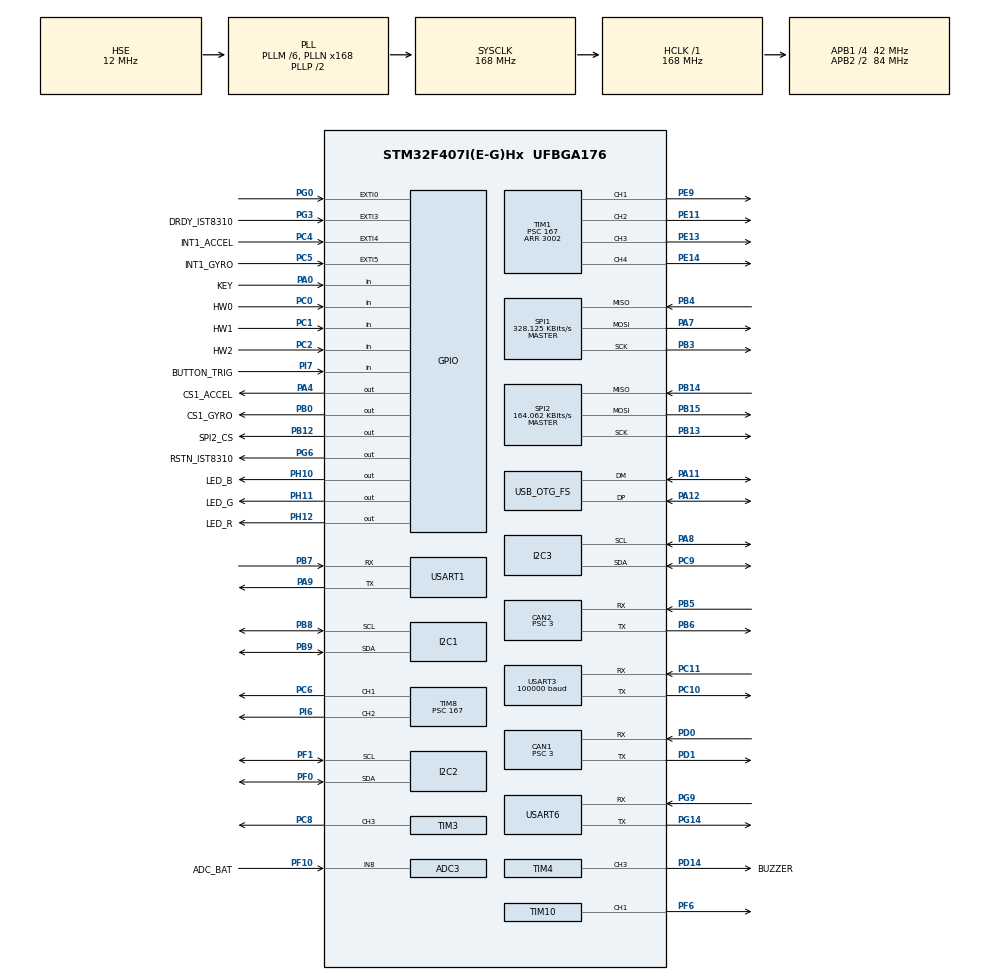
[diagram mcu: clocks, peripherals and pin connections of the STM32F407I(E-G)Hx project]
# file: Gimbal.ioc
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ADC1.Channel-0\#ChannelRegularConversion=ADC_CHANNEL_TEMPSENSOR
ADC1.ClockPrescaler=ADC_CLOCK_SYNC_PCLK_DIV6
ADC1.NbrOfConversionFlag=1
ADC1.Rank-0\#ChannelRegularConversion=1
ADC1.SamplingTime-0\#ChannelRegularConversion=ADC_SAMPLETIME_3CYCLES
ADC1.master=1
ADC3.Channel-0\#ChannelRegularConversion=ADC_CHANNEL_8
ADC3.ClockPrescaler=ADC_CLOCK_SYNC_PCLK_DIV6
ADC3.NbrOfConversionFlag=1
ADC3.Rank-0\#ChannelRegularConversion=1
ADC3.SamplingTime-0\#ChannelRegularConversion=ADC_SAMPLETIME_3CYCLES
CAN1.BS1=CAN_BS1_10TQ
CAN1.BS2=CAN_BS2_3TQ
CAN1.CalculateBaudRate=1000000
CAN1.CalculateTimeQuantum=71.42857142857143
CAN1.Prescaler=3
CAN2.BS1=CAN_BS1_10TQ
CAN2.BS2=CAN_BS2_3TQ
CAN2.CalculateBaudRate=1000000
CAN2.CalculateTimeQuantum=71.42857142857143
CAN2.Prescaler=3
Dma.I2C2_TX.2.Direction=DMA_MEMORY_TO_PERIPH
Dma.I2C2_TX.2.FIFOMode=DMA_FIFOMODE_DISABLE
Dma.I2C2_TX.2.Instance=DMA1_Stream7
Dma.I2C2_TX.2.MemDataAlignment=DMA_MDATAALIGN_BYTE
Dma.I2C2_TX.2.MemInc=DMA_MINC_ENABLE
Dma.I2C2_TX.2.Mode=DMA_NORMAL
Dma.I2C2_TX.2.PeriphDataAlignment=DMA_PDATAALIGN_BYTE
Dma.I2C2_TX.2.PeriphInc=DMA_PINC_DISABLE
Dma.I2C2_TX.2.Priority=DMA_PRIORITY_HIGH
Dma.Request0=SPI1_RX
Dma.Request1=SPI1_TX
Dma.Request2=I2C2_TX
Dma.Request3=USART3_RX
Dma.Request4=USART6_RX
Dma.Request5=USART6_TX
Dma.Request6=USART1_TX
Dma.Request7=USART1_RX
Dma.SPI1_RX.0.Direction=DMA_PERIPH_TO_MEMORY
Dma.SPI1_RX.0.FIFOMode=DMA_FIFOMODE_DISABLE
Dma.SPI1_RX.0.Instance=DMA2_Stream2
Dma.SPI1_RX.0.MemDataAlignment=DMA_MDATAALIGN_BYTE
Dma.SPI1_RX.0.MemInc=DMA_MINC_ENABLE
Dma.SPI1_RX.0.Mode=DMA_NORMAL
Dma.SPI1_RX.0.PeriphDataAlignment=DMA_PDATAALIGN_BYTE
Dma.SPI1_RX.0.PeriphInc=DMA_PINC_DISABLE
Dma.SPI1_RX.0.Priority=DMA_PRIORITY_VERY_HIGH
Dma.SPI1_TX.1.Direction=DMA_MEMORY_TO_PERIPH
Dma.SPI1_TX.1.FIFOMode=DMA_FIFOMODE_DISABLE
Dma.SPI1_TX.1.Instance=DMA2_Stream3
Dma.SPI1_TX.1.MemDataAlignment=DMA_MDATAALIGN_BYTE
Dma.SPI1_TX.1.MemInc=DMA_MINC_ENABLE
Dma.SPI1_TX.1.Mode=DMA_NORMAL
Dma.SPI1_TX.1.PeriphDataAlignment=DMA_PDATAALIGN_BYTE
Dma.SPI1_TX.1.PeriphInc=DMA_PINC_DISABLE
Dma.SPI1_TX.1.Priority=DMA_PRIORITY_HIGH
Dma.USART1_RX.7.Direction=DMA_PERIPH_TO_MEMORY
Dma.USART1_RX.7.FIFOMode=DMA_FIFOMODE_DISABLE
Dma.USART1_RX.7.Instance=DMA2_Stream5
Dma.USART1_RX.7.MemDataAlignment=DMA_MDATAALIGN_BYTE
Dma.USART1_RX.7.MemInc=DMA_MINC_ENABLE
Dma.USART1_RX.7.Mode=DMA_NORMAL
Dma.USART1_RX.7.PeriphDataAlignment=DMA_PDATAALIGN_BYTE
Dma.USART1_RX.7.PeriphInc=DMA_PINC_DISABLE
Dma.USART1_RX.7.Priority=DMA_PRIORITY_LOW
Dma.USART1_TX.6.Direction=DMA_MEMORY_TO_PERIPH
Dma.USART1_TX.6.FIFOMode=DMA_FIFOMODE_DISABLE
Dma.USART1_TX.6.Instance=DMA2_Stream7
Dma.USART1_TX.6.MemDataAlignment=DMA_MDATAALIGN_BYTE
Dma.USART1_TX.6.MemInc=DMA_MINC_ENABLE
Dma.USART1_TX.6.Mode=DMA_NORMAL
Dma.USART1_TX.6.PeriphDataAlignment=DMA_PDATAALIGN_BYTE
Dma.USART1_TX.6.PeriphInc=DMA_PINC_DISABLE
Dma.USART1_TX.6.Priority=DMA_PRIORITY_MEDIUM
Dma.USART3_RX.3.Direction=DMA_PERIPH_TO_MEMORY
Dma.USART3_RX.3.FIFOMode=DMA_FIFOMODE_DISABLE
Dma.USART3_RX.3.Instance=DMA1_Stream1
Dma.USART3_RX.3.MemDataAlignment=DMA_MDATAALIGN_BYTE
Dma.USART3_RX.3.MemInc=DMA_MINC_ENABLE
Dma.USART3_RX.3.Mode=DMA_NORMAL
Dma.USART3_RX.3.PeriphDataAlignment=DMA_PDATAALIGN_BYTE
Dma.USART3_RX.3.PeriphInc=DMA_PINC_DISABLE
Dma.USART3_RX.3.Priority=DMA_PRIORITY_HIGH
Dma.USART6_RX.4.Direction=DMA_PERIPH_TO_MEMORY
Dma.USART6_RX.4.FIFOMode=DMA_FIFOMODE_DISABLE
Dma.USART6_RX.4.Instance=DMA2_Stream1
Dma.USART6_RX.4.MemDataAlignment=DMA_MDATAALIGN_BYTE
Dma.USART6_RX.4.MemInc=DMA_MINC_ENABLE
Dma.USART6_RX.4.Mode=DMA_NORMAL
Dma.USART6_RX.4.PeriphDataAlignment=DMA_PDATAALIGN_BYTE
Dma.USART6_RX.4.PeriphInc=DMA_PINC_DISABLE
Dma.USART6_RX.4.Priority=DMA_PRIORITY_HIGH
Dma.USART6_TX.5.Direction=DMA_MEMORY_TO_PERIPH
Dma.USART6_TX.5.FIFOMode=DMA_FIFOMODE_DISABLE
Dma.USART6_TX.5.Instance=DMA2_Stream6
Dma.USART6_TX.5.MemDataAlignment=DMA_MDATAALIGN_BYTE
Dma.USART6_TX.5.MemInc=DMA_MINC_ENABLE
Dma.USART6_TX.5.Mode=DMA_NORMAL
Dma.USART6_TX.5.PeriphDataAlignment=DMA_PDATAALIGN_BYTE
Dma.USART6_TX.5.PeriphInc=DMA_PINC_DISABLE
Dma.USART6_TX.5.Priority=DMA_PRIORITY_MEDIUM
FREERTOS.INCLUDE_eTaskGetState=1
FREERTOS.INCLUDE_pcTaskGetTaskName=1
FREERTOS.INCLUDE_uxTaskGetStackHighWaterMark=1
FREERTOS.INCLUDE_vTaskCleanUpResources=1
FREERTOS.INCLUDE_vTaskDelayUntil=1
FREERTOS.INCLUDE_xEventGroupSetBitFromISR=1
FREERTOS.INCLUDE_xQueueGetMutexHolder=1
FREERTOS.INCLUDE_xSemaphoreGetMutexHolder=1
FREERTOS.INCLUDE_xTaskAbortDelay=1
FREERTOS.INCLUDE_xTaskGetCurrentTaskHandle=1
FREERTOS.INCLUDE_xTaskGetHandle=1
FREERTOS.INCLUDE_xTimerPendFunctionCall=1
FREERTOS.Tasks01=test,24,128,test_task,As weak,NULL,Dynamic,NULL,NULL
FREERTOS.configTOTAL_HEAP_SIZE=24576
I2C1.I2C_Mode=I2C_Fast
I2C2.I2C_Mode=I2C_Fast
I2C3.I2C_Mode=I2C_Fast
Mcu.Family=STM32F4
Mcu.Name=STM32F407I(E-G)Hx
Mcu.Package=UFBGA176
NVIC.CAN1_RX0_IRQn=true\:5\:0\:true\:false\:true\:true\:true\:true\:true
NVIC.CAN1_RX1_IRQn=true\:5\:0\:false\:false\:true\:true\:true\:true\:true
NVIC.CAN1_TX_IRQn=true\:5\:0\:false\:false\:true\:true\:true\:true\:true
NVIC.CAN2_RX0_IRQn=true\:6\:0\:true\:false\:true\:true\:true\:true\:true
NVIC.CAN2_RX1_IRQn=true\:5\:0\:false\:false\:true\:true\:true\:true\:true
NVIC.CAN2_TX_IRQn=true\:5\:0\:false\:false\:true\:true\:true\:true\:true
NVIC.DMA1_Stream1_IRQn=true\:5\:0\:true\:false\:false\:true\:false\:false\:true
NVIC.DMA1_Stream7_IRQn=true\:5\:0\:true\:false\:false\:true\:false\:true\:true
NVIC.DMA2_Stream1_IRQn=true\:5\:0\:true\:false\:true\:true\:false\:true\:true
NVIC.DMA2_Stream2_IRQn=true\:5\:0\:true\:false\:false\:true\:false\:true\:true
NVIC.DMA2_Stream3_IRQn=true\:5\:0\:true\:false\:false\:true\:false\:true\:true
NVIC.DMA2_Stream5_IRQn=true\:5\:0\:false\:false\:true\:true\:false\:true\:true
NVIC.DMA2_Stream6_IRQn=true\:5\:0\:true\:false\:true\:true\:false\:true\:true
NVIC.DMA2_Stream7_IRQn=true\:5\:0\:true\:false\:true\:true\:false\:true\:true
NVIC.EXTI0_IRQn=true\:6\:0\:true\:false\:true\:true\:true\:true\:true
NVIC.EXTI3_IRQn=true\:5\:0\:true\:false\:true\:true\:true\:true\:true
NVIC.EXTI4_IRQn=true\:5\:0\:true\:false\:true\:true\:true\:true\:true
NVIC.EXTI9_5_IRQn=true\:5\:0\:true\:false\:true\:true\:true\:true\:true
NVIC.OTG_FS_IRQn=true\:5\:0\:false\:false\:true\:true\:false\:true\:true
NVIC.PriorityGroup=NVIC_PRIORITYGROUP_4
NVIC.TIM8_TRG_COM_TIM14_IRQn=true\:15\:0\:false\:false\:true\:false\:false\:true\:true
NVIC.TimeBase=TIM8_TRG_COM_TIM14_IRQn
NVIC.TimeBaseIP=TIM14
NVIC.USART1_IRQn=true\:5\:0\:false\:false\:true\:true\:true\:true\:true
NVIC.USART3_IRQn=true\:4\:0\:true\:false\:false\:false\:true\:true\:true
NVIC.USART6_IRQn=true\:5\:0\:true\:false\:false\:true\:true\:true\:true
PA0-WKUP.GPIO_Label=KEY
PA0-WKUP.GPIO_PuPd=GPIO_PULLUP
PA0-WKUP.Signal=GPIO_Input
PA10.Signal=USB_OTG_FS_ID
PA11.Mode=Device_Only
PA11.Signal=USB_OTG_FS_DM
PA12.Mode=Device_Only
PA12.Signal=USB_OTG_FS_DP
PA13.Mode=Serial_Wire
PA13.Signal=SYS_JTMS-SWDIO
PA14.Mode=Serial_Wire
PA14.Signal=SYS_JTCK-SWCLK
PA4.GPIO_Label=CS1_ACCEL
PA4.GPIO_PuPd=GPIO_PULLUP
PA4.GPIO_Speed=GPIO_SPEED_FREQ_HIGH
PA4.PinState=GPIO_PIN_SET
PA4.Signal=GPIO_Output
PA7.GPIO_PuPd=GPIO_PULLUP
PA7.Mode=Full_Duplex_Master
PA7.Signal=SPI1_MOSI
PA8.GPIO_Pu=GPIO_PULLUP
PA8.Mode=I2C
PA8.Signal=I2C3_SCL
PA9.Mode=Asynchronous
PA9.Signal=USART1_TX
PB0.GPIO_Label=CS1_GYRO
PB0.GPIO_PuPd=GPIO_PULLUP
PB0.GPIO_Speed=GPIO_SPEED_FREQ_HIGH
PB0.PinState=GPIO_PIN_SET
PB0.Signal=GPIO_Output
PB12.GPIO_Label=SPI2_CS
PB12.GPIO_PuPd=GPIO_PULLUP
PB12.GPIO_Speed=GPIO_SPEED_FREQ_MEDIUM
PB12.PinState=GPIO_PIN_SET
PB12.Signal=GPIO_Output
PB13.GPIO_PuPd=GPIO_PULLUP
PB13.Mode=Full_Duplex_Master
PB13.Signal=SPI2_SCK
PB14.GPIO_PuPd=GPIO_PULLUP
PB14.Mode=Full_Duplex_Master
PB14.Signal=SPI2_MISO
PB15.GPIO_PuPd=GPIO_PULLUP
PB15.Mode=Full_Duplex_Master
PB15.Signal=SPI2_MOSI
PB3.GPIO_PuPd=GPIO_PULLUP
PB3.Mode=Full_Duplex_Master
PB3.Signal=SPI1_SCK
PB4.GPIO_PuPd=GPIO_PULLUP
PB4.Mode=Full_Duplex_Master
PB4.Signal=SPI1_MISO
PB5.Mode=CAN_Activate
PB5.Signal=CAN2_RX
PB6.Mode=CAN_Activate
PB6.Signal=CAN2_TX
PB7.Mode=Asynchronous
PB7.Signal=USART1_RX
PB8.GPIO_Pu=GPIO_PULLUP
PB8.Mode=I2C
PB8.Signal=I2C1_SCL
PB9.GPIO_Pu=GPIO_PULLUP
PB9.Mode=I2C
PB9.Signal=I2C1_SDA
PC0.GPIO_Label=HW0
PC0.Signal=GPIO_Input
PC1.GPIO_Label=HW1
PC1.Signal=GPIO_Input
PC10.Mode=Asynchronous
PC10.Signal=USART3_TX
PC11.Mode=Asynchronous
PC11.Signal=USART3_RX
PC2.GPIO_Label=HW2
PC2.Signal=GPIO_Input
PC4.GPIO_Label=INT1_ACCEL
PC4.GPIO_ModeDefaultEXTI=GPIO_MODE_IT_FALLING
PC4.GPIO_PuPd=GPIO_PULLUP
PC4.Signal=GPXTI4
PC5.GPIO_Label=INT1_GYRO
PC5.GPIO_ModeDefaultEXTI=GPIO_MODE_IT_FALLING
PC5.GPIO_PuPd=GPIO_PULLUP
PC5.Signal=GPXTI5
PC6.GPIO_PuPd=GPIO_PULLUP
PC6.GPIO_Speed=GPIO_SPEED_FREQ_HIGH
PC6.Signal=S_TIM8_CH1
PC8.GPIO_PuPd=GPIO_PULLUP
PC8.GPIO_Speed=GPIO_SPEED_FREQ_HIGH
PC8.Signal=S_TIM3_CH3
PC9.GPIO_Pu=GPIO_PULLUP
PC9.Mode=I2C
PC9.Signal=I2C3_SDA
PD0.Mode=CAN_Activate
PD0.Signal=CAN1_RX
PD1.Mode=CAN_Activate
PD1.Signal=CAN1_TX
PD14.GPIO_Label=BUZZER
PD14.GPIO_PuPd=GPIO_PULLUP
PD14.GPIO_Speed=GPIO_SPEED_FREQ_VERY_HIGH
PD14.Signal=S_TIM4_CH3
PE11.GPIO_PuPd=GPIO_PULLUP
PE11.GPIO_Speed=GPIO_SPEED_FREQ_HIGH
PE11.Signal=S_TIM1_CH2
PE13.GPIO_PuPd=GPIO_PULLUP
PE13.GPIO_Speed=GPIO_SPEED_FREQ_HIGH
PE13.Signal=S_TIM1_CH3
PE14.GPIO_PuPd=GPIO_PULLUP
PE14.GPIO_Speed=GPIO_SPEED_FREQ_HIGH
PE14.Signal=S_TIM1_CH4
PE9.GPIO_PuPd=GPIO_PULLUP
PE9.GPIO_Speed=GPIO_SPEED_FREQ_HIGH
PE9.Signal=S_TIM1_CH1
PF0.GPIO_Pu=GPIO_PULLUP
PF0.Mode=I2C
PF0.Signal=I2C2_SDA
PF1.GPIO_Pu=GPIO_PULLUP
PF1.Mode=I2C
PF1.Signal=I2C2_SCL
PF10.GPIO_Label=ADC_BAT
PF10.Mode=IN8
PF10.Signal=ADC3_IN8
PF6.GPIO_PuPd=GPIO_PULLUP
PF6.GPIO_Speed=GPIO_SPEED_FREQ_HIGH
PF6.Signal=S_TIM10_CH1
PG0.GPIO_ModeDefaultEXTI=GPIO_MODE_IT_FALLING
PG0.GPIO_PuPd=GPIO_PULLUP
PG0.Signal=GPXTI0
PG14.Mode=Asynchronous
PG14.Signal=USART6_TX
PG3.GPIO_Label=DRDY_IST8310
PG3.GPIO_ModeDefaultEXTI=GPIO_MODE_IT_FALLING
PG3.GPIO_PuPd=GPIO_PULLUP
PG3.Signal=GPXTI3
PG6.GPIO_Label=RSTN_IST8310
PG6.GPIO_PuPd=GPIO_PULLUP
PG6.GPIO_Speed=GPIO_SPEED_FREQ_MEDIUM
PG6.PinState=GPIO_PIN_SET
PG6.Signal=GPIO_Output
PG9.Mode=Asynchronous
PG9.Signal=USART6_RX
PH0-OSC_IN.Mode=HSE-External-Oscillator
PH0-OSC_IN.Signal=RCC_OSC_IN
PH1-OSC_OUT.Mode=HSE-External-Oscillator
PH1-OSC_OUT.Signal=RCC_OSC_OUT
PH10.GPIO_Label=LED_B
PH10.GPIO_PuPd=GPIO_PULLDOWN
PH10.Signal=GPIO_Output
PH11.GPIO_Label=LED_G
PH11.GPIO_PuPd=GPIO_PULLDOWN
PH11.Signal=GPIO_Output
PH12.GPIO_Label=LED_R
PH12.GPIO_PuPd=GPIO_PULLDOWN
PH12.Signal=GPIO_Output
PI6.GPIO_PuPd=GPIO_PULLUP
PI6.GPIO_Speed=GPIO_SPEED_FREQ_HIGH
PI6.Signal=S_TIM8_CH2
PI7.GPIO_Label=BUTTON_TRIG
PI7.GPIO_PuPd=GPIO_PULLUP
PI7.Signal=GPIO_Input
ProjectManager.HeapSize=0x2000
ProjectManager.StackSize=0x2000
ProjectManager.TargetToolchain=MDK-ARM V5
RCC.48MHZClocksFreq_Value=48000000
RCC.AHBFreq_Value=168000000
RCC.APB1CLKDivider=RCC_HCLK_DIV4
RCC.APB1Freq_Value=42000000
RCC.APB1TimFreq_Value=84000000
RCC.APB2CLKDivider=RCC_HCLK_DIV2
RCC.APB2Freq_Value=84000000
RCC.APB2TimFreq_Value=168000000
RCC.CortexFreq_Value=168000000
RCC.HCLKFreq_Value=168000000
RCC.HSE_VALUE=12000000
RCC.HSI_VALUE=16000000
RCC.LSE_VALUE=32768
RCC.PLLM=6
RCC.PLLN=168
RCC.PLLQ=7
RCC.RCC_RTC_Clock_SourceVirtual=RCC_RTCCLKSOURCE_HSE_DIV30
RCC.RCC_RTC_Clock_Source_FROM_HSE=RCC_RTCCLKSOURCE_HSE_DIV30
RCC.SYSCLKFreq_VALUE=168000000
RCC.SYSCLKSource=RCC_SYSCLKSOURCE_PLLCLK
RCC.VCOOutputFreq_Value=336000000
RTC.AsynchPrediv=124
RTC.SynchPrediv=3199
SH.S_TIM10_CH1.0=TIM10_CH1,PWM Generation1 CH1
SH.S_TIM1_CH1.0=TIM1_CH1,PWM Generation1 CH1
SH.S_TIM1_CH2.0=TIM1_CH2,PWM Generation2 CH2
SH.S_TIM1_CH3.0=TIM1_CH3,PWM Generation3 CH3
SH.S_TIM1_CH4.0=TIM1_CH4,PWM Generation4 CH4
SH.S_TIM3_CH3.0=TIM3_CH3,PWM Generation3 CH3
SH.S_TIM4_CH3.0=TIM4_CH3,PWM Generation3 CH3
SH.S_TIM8_CH1.0=TIM8_CH1,PWM Generation1 CH1
SH.S_TIM8_CH2.0=TIM8_CH2,PWM Generation2 CH2
SPI1.BaudRatePrescaler=SPI_BAUDRATEPRESCALER_256
SPI1.CLKPhase=SPI_PHASE_2EDGE
SPI1.CLKPolarity=SPI_POLARITY_HIGH
SPI1.CalculateBaudRate=328.125 KBits/s
SPI1.Direction=SPI_DIRECTION_2LINES
SPI1.Mode=SPI_MODE_MASTER
SPI1.VirtualType=VM_MASTER
SPI2.BaudRatePrescaler=SPI_BAUDRATEPRESCALER_256
SPI2.CLKPhase=SPI_PHASE_2EDGE
SPI2.CLKPolarity=SPI_POLARITY_HIGH
SPI2.CalculateBaudRate=164.062 KBits/s
SPI2.Direction=SPI_DIRECTION_2LINES
SPI2.Mode=SPI_MODE_MASTER
SPI2.VirtualType=VM_MASTER
TIM1.Channel-PWM\ Generation1\ CH1=TIM_CHANNEL_1
TIM1.Channel-PWM\ Generation2\ CH2=TIM_CHANNEL_2
TIM1.Channel-PWM\ Generation3\ CH3=TIM_CHANNEL_3
TIM1.Channel-PWM\ Generation4\ CH4=TIM_CHANNEL_4
TIM1.Period=3002
TIM1.Prescaler=167
TIM1.Pulse-PWM\ Generation1\ CH1=1000
TIM1.Pulse-PWM\ Generation2\ CH2=1000
TIM1.Pulse-PWM\ Generation3\ CH3=1000
TIM1.Pulse-PWM\ Generation4\ CH4=1000
TIM10.Channel=TIM_CHANNEL_1
TIM10.Period=4999
TIM3.Channel-PWM\ Generation3\ CH3=TIM_CHANNEL_3
TIM3.Period=8399
TIM4.Channel-PWM\ Generation3\ CH3=TIM_CHANNEL_3
TIM4.Period=65535
TIM4.Prescaler=167
TIM5.Period=65535
TIM5.Prescaler=0
TIM8.Channel-PWM\ Generation1\ CH1=TIM_CHANNEL_1
TIM8.Channel-PWM\ Generation2\ CH2=TIM_CHANNEL_2
TIM8.Period=19999
TIM8.Prescaler=167
TIM8.Pulse-PWM\ Generation1\ CH1=1000
TIM8.Pulse-PWM\ Generation2\ CH2=1000
USART1.VirtualMode=VM_ASYNC
USART3.BaudRate=100000
USART3.Parity=PARITY_EVEN
USART3.VirtualMode=VM_ASYNC
USART6.VirtualMode=VM_ASYNC
USB_DEVICE.CLASS_NAME_FS=CDC
USB_DEVICE.VirtualMode-CDC_FS=Cdc
USB_DEVICE.VirtualModeFS=Cdc_FS
USB_OTG_FS.VirtualMode=Device_Only
VP_ADC1_TempSens_Input.Mode=IN-TempSens
VP_ADC1_Vref_Input.Mode=IN-Vrefint
VP_CRC_VS_CRC.Mode=CRC_Activate
VP_FREERTOS_VS_CMSIS_V1.Mode=CMSIS_V1
VP_RNG_VS_RNG.Mode=RNG_Activate
VP_RTC_VS_RTC_Activate.Mode=RTC_Enabled
VP_SYS_VS_tim14.Mode=TIM14
VP_TIM10_VS_ClockSourceINT.Mode=Enable_Timer
VP_TIM1_VS_ClockSourceINT.Mode=Internal
VP_TIM3_VS_ClockSourceINT.Mode=Internal
VP_TIM5_VS_ClockSourceINT.Mode=Internal
VP_TIM8_VS_ClockSourceINT.Mode=Internal
VP_USB_DEVICE_VS_USB_DEVICE_CDC_FS.Mode=CDC_FS
board=custom

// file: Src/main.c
/* USER CODE BEGIN Header */
/**
  ******************************************************************************
  * @file           : main.c
  * @brief          : Main program body
  ******************************************************************************
  * @attention
  *
  * Copyright (c) 2025 STMicroelectronics.
  * All rights reserved.
  *
  * This software is licensed under terms that can be found in the LICENSE file
  * in the root directory of this software component.
  * If no LICENSE file comes with this software, it is provided AS-IS.
  *
  ******************************************************************************
  */
/* USER CODE END Header */
#include "main.h"
#include "cmsis_os.h"
#include "adc.h"
#include "can.h"
#include "crc.h"
#include "dma.h"
#include "i2c.h"
#include "rng.h"
#include "rtc.h"
#include "spi.h"
#include "tim.h"
#include "usart.h"
#include "usb_device.h"
#include "gpio.h"

/* USER CODE BEGIN Includes */
#include "remote_control.h"
#include "struct_typedef.h"
#include "pid.h"
#include "bsp_can.h"
/* USER CODE END Includes */

/* USER CODE BEGIN PV */
char rxmessage[BUFFERSIZE] = {0};
uint8_t remoteMessage[36] = {0};
/* USER CODE END PV */

void SystemClock_Config(void);
void MX_FREERTOS_Init(void);
/* USER CODE BEGIN PFP */
//void HAL_UARTEx_RxEventCallback(UART_HandleTypeDef *huart, uint16_t Size)
//{
////    HAL_GPIO_WritePin(LED_B_GPIO_Port, LED_B_Pin, GPIO_PIN_SET);
//    if (huart == &huart6)
//    {
//					HAL_GPIO_WritePin(LED_R_GPIO_Port, LED_R_Pin, GPIO_PIN_SET);
////        float Kp, Ki, Kd;
////        sscanf(rxmessage, "%f,%f,%f", &Kp, &Ki, &Kd);
////        for (int i = 0; i < 4; i++)
////        {
////            Motor_SPID[i].PID_reset(&Motor_SPID, Kp, Ki, Kd);
////        }

////        memset(rxmessage, 0, BUFFERSIZE);
//        HAL_UARTEx_ReceiveToIdle_DMA(&huart6, (char *)rxmessage, BUFFERSIZE);
//    }
//    else if (huart->Instance == USART3)
//    {
//				HAL_GPIO_WritePin(LED_G_GPIO_Port, LED_G_Pin, GPIO_PIN_SET);
//        remoteReceive(remoteMessage);
//        HAL_UARTEx_ReceiveToIdle_DMA(&huart3, (uint8_t *)remoteMessage, 36);
//    }
//}
//void USART3_IRQHandler(void)
//{
//	HAL_GPIO_TogglePin(LED_B_GPIO_Port, LED_B_Pin);
//}
/* USER CODE END PFP */

/* USER CODE BEGIN 0 */
PID_TypeDef Motor_VPID[4] = {0};
PID_TypeDef Motor_SPID = {0};
PID_TypeDef Gimbal_VPID = {0};
PID_TypeDef Gimbal_SPID = {0};
/* USER CODE END 0 */

int main(void)
{

  /* MCU Configuration--------------------------------------------------------*/

  /* Reset of all peripherals, Initializes the Flash interface and the Systick. */
  HAL_Init();

  /* Configure the system clock */
  SystemClock_Config();

  /* Initialize all configured peripherals */
  MX_GPIO_Init();
  MX_DMA_Init();
  MX_ADC1_Init();
  MX_ADC3_Init();
  MX_CAN1_Init();
  MX_CAN2_Init();
  MX_I2C1_Init();
  MX_SPI1_Init();
  MX_TIM4_Init();
  MX_TIM5_Init();
  MX_USART3_UART_Init();
  MX_TIM8_Init();
  MX_CRC_Init();
  MX_RNG_Init();
  MX_I2C2_Init();
  MX_I2C3_Init();
  MX_RTC_Init();
  MX_SPI2_Init();
  MX_TIM1_Init();
  MX_TIM3_Init();
  MX_TIM10_Init();
  MX_USART1_UART_Init();
  MX_USART6_UART_Init();
  /* USER CODE BEGIN 2 */
//  HAL_UARTEx_ReceiveToIdle_DMA(&huart3, (uint8_t *)remoteMessage, 36);
//	can_filter_init();
//  HAL_TIM_Base_Start_IT(&htim4);
  HAL_Delay(10);
  /* USER CODE END 2 */

  /* Call init function for freertos objects (in cmsis_os2.c) */
  MX_FREERTOS_Init();

  /* Start scheduler */
  osKernelStart();

  /* We should never get here as control is now taken by the scheduler */

  /* Infinite loop */
  while (1)
  {
//		HAL_GPIO_TogglePin(LED_R_GPIO_Port, LED_R_Pin);

    /* USER CODE BEGIN 3 */
  }
	  HAL_UARTEx_ReceiveToIdle_DMA(&huart3, (uint8_t *)remoteMessage, 36);
  /* USER CODE END 3 */
}

void SystemClock_Config(void)
{
  RCC_OscInitTypeDef RCC_OscInitStruct = {0};
  RCC_ClkInitTypeDef RCC_ClkInitStruct = {0};

  /** Configure the main internal regulator output voltage
  */
  __HAL_RCC_PWR_CLK_ENABLE();
  __HAL_PWR_VOLTAGESCALING_CONFIG(PWR_REGULATOR_VOLTAGE_SCALE1);

  /** Initializes the RCC Oscillators according to the specified parameters
  * in the RCC_OscInitTypeDef structure.
  */
  RCC_OscInitStruct.OscillatorType = RCC_OSCILLATORTYPE_HSE;
  RCC_OscInitStruct.HSEState = RCC_HSE_ON;
  RCC_OscInitStruct.PLL.PLLState = RCC_PLL_ON;
  RCC_OscInitStruct.PLL.PLLSource = RCC_PLLSOURCE_HSE;
  RCC_OscInitStruct.PLL.PLLM = 6;
  RCC_OscInitStruct.PLL.PLLN = 168;
  RCC_OscInitStruct.PLL.PLLP = RCC_PLLP_DIV2;
  RCC_OscInitStruct.PLL.PLLQ = 7;
  if (HAL_RCC_OscConfig(&RCC_OscInitStruct) != HAL_OK)
  {
    Error_Handler();
  }

  /** Initializes the CPU, AHB and APB buses clocks
  */
  RCC_ClkInitStruct.ClockType = RCC_CLOCKTYPE_HCLK|RCC_CLOCKTYPE_SYSCLK
                              |RCC_CLOCKTYPE_PCLK1|RCC_CLOCKTYPE_PCLK2;
  RCC_ClkInitStruct.SYSCLKSource = RCC_SYSCLKSOURCE_PLLCLK;
  RCC_ClkInitStruct.AHBCLKDivider = RCC_SYSCLK_DIV1;
  RCC_ClkInitStruct.APB1CLKDivider = RCC_HCLK_DIV4;
  RCC_ClkInitStruct.APB2CLKDivider = RCC_HCLK_DIV2;

  if (HAL_RCC_ClockConfig(&RCC_ClkInitStruct, FLASH_LATENCY_5) != HAL_OK)
  {
    Error_Handler();
  }
}

void HAL_TIM_PeriodElapsedCallback(TIM_HandleTypeDef *htim)
{
  if (htim->Instance == TIM14) {
    HAL_IncTick();
  }
}

void Error_Handler(void)
{
  __disable_irq();
  while (1)
  {
  }
}

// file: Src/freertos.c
/* USER CODE BEGIN Header */
/**
  ******************************************************************************
  * File Name          : freertos.c
  * Description        : Code for freertos applications
  ******************************************************************************
  * @attention
  *
  * Copyright (c) 2025 STMicroelectronics.
  * All rights reserved.
  *
  * This software is licensed under terms that can be found in the LICENSE file
  * in the root directory of this software component.
  * If no LICENSE file comes with this software, it is provided AS-IS.
  *
  ******************************************************************************
  */
/* USER CODE END Header */

#include "FreeRTOS.h"
#include "task.h"
#include "main.h"
#include "cmsis_os.h"

/* USER CODE BEGIN Includes */
#include "INS_task.h"
/* USER CODE END Includes */

/* USER CODE BEGIN Variables */
osThreadId motor_taskHandle;
osThreadId communication_taskHandle;
osThreadId INS_taskHandle;
osThreadId led_taskHandle;
osThreadId transmit_data_taskHandle;
osThreadId transmit_data_taskHandle;
osThreadId shoot_taskHandle;
osThreadId rc_taskHandle;
/* USER CODE END Variables */
osThreadId testHandle;

/* USER CODE BEGIN FunctionPrototypes */
extern void motor_task(void const * argument);
extern void communication_task(void const * argument);
extern void led_task(void const * argument);
extern void transmit_data_task(void const * argument);
void start_INS_task(void const * argument);
extern void shoot_task(void const * argument);
extern void rc_task(void const * argument);
/* USER CODE END FunctionPrototypes */

void test_task(void const * argument);

extern void MX_USB_DEVICE_Init(void);
void MX_FREERTOS_Init(void); /* (MISRA C 2004 rule 8.1) */

/* GetIdleTaskMemory prototype (linked to static allocation support) */
void vApplicationGetIdleTaskMemory( StaticTask_t **ppxIdleTaskTCBBuffer, StackType_t **ppxIdleTaskStackBuffer, uint32_t *pulIdleTaskStackSize );

/* GetTimerTaskMemory prototype (linked to static allocation support) */
void vApplicationGetTimerTaskMemory( StaticTask_t **ppxTimerTaskTCBBuffer, StackType_t **ppxTimerTaskStackBuffer, uint32_t *pulTimerTaskStackSize );

/* USER CODE BEGIN GET_IDLE_TASK_MEMORY */
static StaticTask_t xIdleTaskTCBBuffer;
static StackType_t xIdleStack[configMINIMAL_STACK_SIZE];

void vApplicationGetIdleTaskMemory( StaticTask_t **ppxIdleTaskTCBBuffer, StackType_t **ppxIdleTaskStackBuffer, uint32_t *pulIdleTaskStackSize )
{
  *ppxIdleTaskTCBBuffer = &xIdleTaskTCBBuffer;
  *ppxIdleTaskStackBuffer = &xIdleStack[0];
  *pulIdleTaskStackSize = configMINIMAL_STACK_SIZE;
  /* place for user code */
}
/* USER CODE END GET_IDLE_TASK_MEMORY */

/* USER CODE BEGIN GET_TIMER_TASK_MEMORY */
static StaticTask_t xTimerTaskTCBBuffer;
static StackType_t xTimerStack[configTIMER_TASK_STACK_DEPTH];

void vApplicationGetTimerTaskMemory( StaticTask_t **ppxTimerTaskTCBBuffer, StackType_t **ppxTimerTaskStackBuffer, uint32_t *pulTimerTaskStackSize )
{
  *ppxTimerTaskTCBBuffer = &xTimerTaskTCBBuffer;
  *ppxTimerTaskStackBuffer = &xTimerStack[0];
  *pulTimerTaskStackSize = configTIMER_TASK_STACK_DEPTH;
  /* place for user code */
}
/* USER CODE END GET_TIMER_TASK_MEMORY */

void MX_FREERTOS_Init(void) {

  /* Create the thread(s) */
  /* definition and creation of test */
  osThreadDef(test, test_task, osPriorityNormal, 0, 128);
  testHandle = osThreadCreate(osThread(test), NULL);

  /* USER CODE BEGIN RTOS_THREADS */
  /* add threads, ... */
	osThreadDef(motor, motor_task, osPriorityHigh, 0, 512);
	motor_taskHandle = osThreadCreate(osThread(motor), NULL);

	osThreadDef(communication, communication_task, osPriorityHigh, 0, 512);
	communication_taskHandle = osThreadCreate(osThread(communication), NULL);

	osThreadDef(INS, start_INS_task, osPriorityNormal, 0, 512);
	INS_taskHandle = osThreadCreate(osThread(INS), NULL);

//	osThreadDef(led, led_task, osPriorityLow, 0, 128);
//	led_taskHandle = osThreadCreate(osThread(led), NULL);

	osThreadDef(transmit_data, transmit_data_task, osPriorityNormal, 0, 512);
	transmit_data_taskHandle = osThreadCreate(osThread(transmit_data), NULL);

	osThreadDef(shoot, shoot_task, osPriorityHigh, 0, 512);
	shoot_taskHandle = osThreadCreate(osThread(shoot), NULL);

//	osThreadDef(rc, rc_task, osPriorityAboveNormal, 0, 128);
//	rc_taskHandle = osThreadCreate(osThread(rc), NULL);

  /* USER CODE END RTOS_THREADS */

}

__weak void test_task(void const * argument)
{
  /* init code for USB_DEVICE */
  MX_USB_DEVICE_Init();
  /* USER CODE BEGIN test_task */
  /* Infinite loop */
  for(;;)
  {;
    osDelay(1);
  }
  /* USER CODE END test_task */
}

/* USER CODE BEGIN Application */
void start_INS_task(void const * argurment)
{
	INS_Init();
	while(1){
		INS_task();
		osDelay(1);
	}
}
/* USER CODE END Application */
